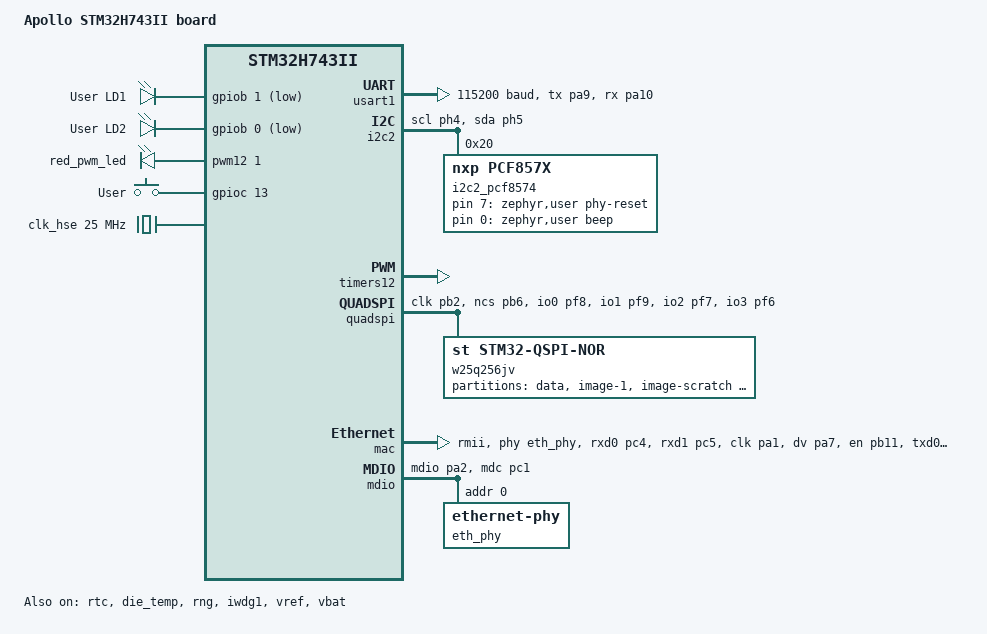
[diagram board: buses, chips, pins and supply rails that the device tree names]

/dts-v1/;
#include <st/h7/stm32h743Xi.dtsi>
#include <st/h7/stm32h743iitx-pinctrl.dtsi>
#include <zephyr/dt-bindings/input/input-event-codes.h>

/ {
	model = "Apollo STM32H743II board";
	compatible = "st,stm32h743ii-apollo";

	chosen {
		zephyr,console = &usart1;
		zephyr,shell-uart = &usart1;
		zephyr,sram = &sram0;
		zephyr,flash = &flash0;
		zephyr,dtcm = &dtcm;
		zephyr,canbus = &fdcan1;
		zephyr,settings-partition = &cfg_partition;
		zephyr,code-partition = &slot0_partition;
		zephyr,rtc = &rtc;
	};

	leds: leds {
		compatible = "gpio-leds";
		red_led: led_0 {
			gpios = <&gpiob 1 GPIO_ACTIVE_LOW>;
			label = "User LD1";
		};
		green_led: led_1 {
			gpios = <&gpiob 0 GPIO_ACTIVE_LOW>;
			label = "User LD2";
		};
	};

	pwmleds {
		compatible = "pwm-leds";

		red_pwm_led: red_pwm_led {
			pwms = <&pwm12 1 PWM_MSEC(20) PWM_POLARITY_NORMAL>;
		};
	};

	gpio_keys {
		compatible = "gpio-keys";
		user_button: button_0 {
			label = "User";
			gpios = <&gpioc 13 GPIO_ACTIVE_HIGH>;
			zephyr,code = <INPUT_KEY_0>;
		};
	};

	aliases {
		led0 = &red_led;
		led1 = &green_led;
		pwm-led0 = &red_pwm_led;
		sw0 = &user_button;
		watchdog0 = &iwdg;
		die-temp0 = &die_temp;
		volt-sensor0 = &vref;
		volt-sensor1 = &vbat;
		rtc = &rtc;
		mcuboot-led0 = &green_led;
	};

	zephyr,user {
		phy-reset-gpios = <&i2c2_pcf8574 7 GPIO_ACTIVE_HIGH>;
		beep-gpios = <&i2c2_pcf8574 0 GPIO_ACTIVE_HIGH>;
	};
};

&clk_lsi {
	status = "okay";
};

&clk_hsi48 {
	status = "okay";
};

&clk_hse {
	clock-frequency = <DT_FREQ_M(25)>;
	status = "okay";
};

&pll {
	div-m = <5>;
	mul-n = <192>;
	div-p = <2>;
	div-q = <2>;
	div-r = <2>;
	clocks = <&clk_hse>;
	status = "okay";
};

&pll2 {
	div-m = <4>;
	mul-n = <120>;
	div-p = <2>;
	div-q = <3>; /* gives 80MHz to the FDCAN */
	div-r = <2>;
	clocks = <&clk_hse>;
	status = "okay";
};

&rcc {
	clocks = <&pll>;
	clock-frequency = <DT_FREQ_M(480)>;
	d1cpre = <1>;
	hpre = <2>;
	d1ppre = <2>;
	d2ppre1 = <2>;
	d2ppre2 = <2>;
	d3ppre = <2>;
};

&usart1 {
	pinctrl-0 = <&usart1_tx_pa9 &usart1_rx_pa10>;
	pinctrl-names = "default";
	current-speed = <115200>;
	status = "okay";
};

&rtc {
	clocks = <&rcc STM32_CLOCK_BUS_APB4 0x00010000>,
		 <&rcc STM32_SRC_LSI RTC_SEL(2)>;
	status = "okay";
};

&i2c2 {
	pinctrl-0 = <&i2c2_scl_ph4 &i2c2_sda_ph5>;
	pinctrl-names = "default";
	i2c2_pcf8574: i2c2_pcf8574@20 {
		 compatible = "nxp,pcf857x";
		 reg = <0x20>;
		 gpio-controller;
		 #gpio-cells = <2>;
		 ngpios = <8>;
		 status = "okay";
	};
	status = "okay";
};

&timers12 {
	st,prescaler = <10000>;
	status = "okay";

	pwm12: pwm {
		status = "okay";
		pinctrl-0 = <&tim12_ch1_pb14>;
		pinctrl-names = "default";
	};
};

&die_temp {
	status = "okay";
};

&rng {
	status = "okay";
};

&backup_sram {
	status = "okay";
};

&flash0 {
	partitions {
		compatible = "fixed-partitions";
		#address-cells = <1>;
		#size-cells = <1>;

		boot_partition: partition@0 {
			label = "mcuboot";
			reg = <0x00000000 DT_SIZE_K(128)>;
			read-only;
		};
		slot0_partition: partition@20000 {
			label = "image-0";
			reg = <0x00020000 DT_SIZE_K(1920)>;
		};
	};
};

&quadspi {
	pinctrl-0 = <&quadspi_clk_pb2 &quadspi_bk1_ncs_pb6 &quadspi_bk1_io0_pf8 &quadspi_bk1_io1_pf9 &quadspi_bk1_io2_pf7 &quadspi_bk1_io3_pf6>;
	pinctrl-names = "default";
	status = "okay";

	w25q256jv: qspi-nor-flash@90000000 {
		compatible = "st,stm32-qspi-nor";
		reg = <0x90000000 DT_SIZE_M(32)>;
		qspi-max-frequency = <72000000>;
		size = <0x10000000>;
		reset-cmd;
		status = "okay";
		partitions {
			compatible = "fixed-partitions";
			#address-cells = <1>;
			#size-cells = <1>;

			storage_partition: partition@0 {
				label = "data";
				reg = <0x00000000 DT_SIZE_M(26)>;
			};
			slot1_partition: partition@1A00000 {
				label = "image-1";
				reg = <0x01A00000 DT_SIZE_K(1920)>;
			};
			scratch_partition: partition@1C00000 {
				label = "image-scratch";
				reg = <0x01C00000 DT_SIZE_K(1920)>;
			};
			cfg_partition: partition@1E00000 {
				label = "cfg";
				reg = <0x01E00000 DT_SIZE_M(2)>;
			};
		};
	};
};

&iwdg1 {
	status = "okay";
};

&vref {
	status = "okay";
};

&vbat {
	status = "okay";
};

&mac {
	status = "okay";
	pinctrl-0 = <&eth_rxd0_pc4
		     &eth_rxd1_pc5
		     &eth_ref_clk_pa1
		     &eth_crs_dv_pa7
		     &eth_tx_en_pb11
		     &eth_txd0_pg13
		     &eth_txd1_pg14>;
	pinctrl-names = "default";
	phy-connection-type = "rmii";
	phy-handle = <&eth_phy>;
};

&mdio {
	status = "okay";
	pinctrl-0 = <&eth_mdio_pa2 &eth_mdc_pc1>;
	pinctrl-names = "default";

	eth_phy: ethernet-phy@0 {
		compatible = "ethernet-phy";
		reg = <0x00>;
		status = "okay";
	};
};

